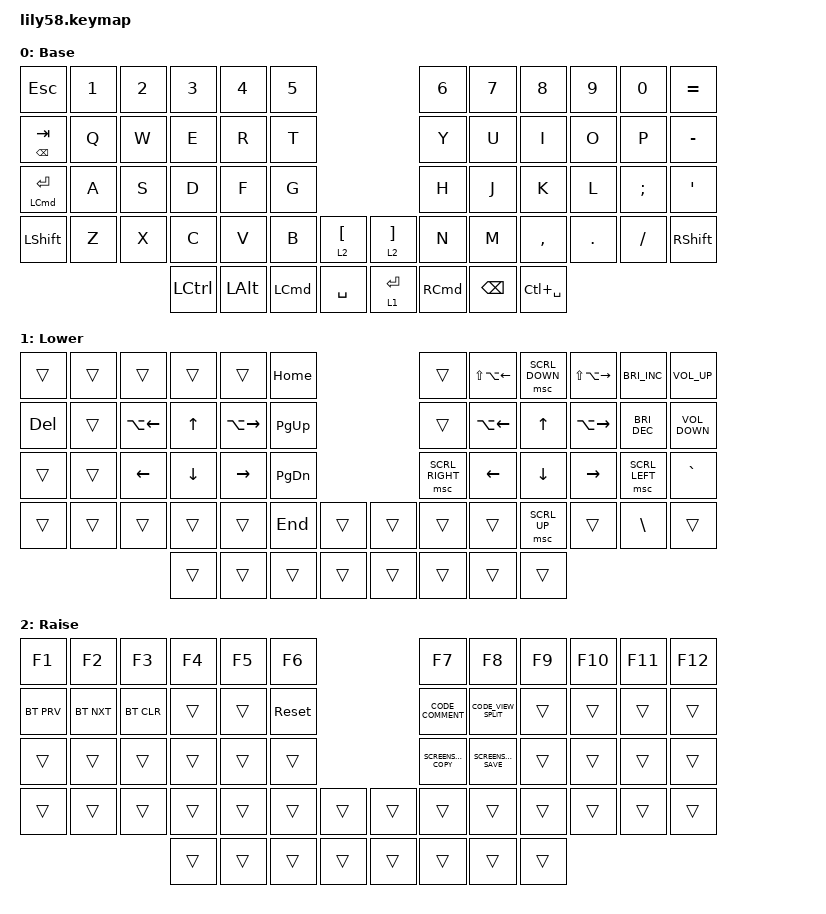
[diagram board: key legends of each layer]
/*
 * Copyright (c) 2020 The ZMK Contributors
 *
 * SPDX-License-Identifier: MIT
 */

#include <behaviors.dtsi>
#include <dt-bindings/zmk/bt.h>
#include <dt-bindings/zmk/keys.h>
#include <dt-bindings/zmk/pointing.h>

/ {
    macros {
        CODE_COMMENT: CODE_COMMENT {
            compatible = "zmk,behavior-macro";
            #binding-cells = <0>;
            bindings = <&kp LG(SLASH)>;
            label = "CODE_COMMENT";
        };

        COLLAPSE_LEVEL: COLLAPSE_LEVEL {
            compatible = "zmk,behavior-macro";
            #binding-cells = <0>;
            bindings =
                <&macro_press>,
                <&kp LEFT_WIN>,
                <&macro_tap>,
                <&kp K>,
                <&macro_release>,
                <&kp LEFT_WIN>;

            label = "COLLAPSE_LEVEL";
        };

        SCREENSHOT_COPY: SCREENSHOT_COPY {
            compatible = "zmk,behavior-macro";
            #binding-cells = <0>;
            bindings = <&kp LG(LC(LS(NUMBER_4)))>;
            label = "SCREENSHOT_COPY";
        };

        SCREENSHOT_SAVE: SCREENSHOT_SAVE {
            compatible = "zmk,behavior-macro";
            #binding-cells = <0>;
            bindings = <&kp LG(LS(NUMBER_4))>;
            label = "SCREENSHOT_SAVE";
        };

        CODE_VIEW_SPLIT: CODE_VIEW_SPLIT {
            compatible = "zmk,behavior-macro";
            #binding-cells = <0>;
            bindings = <&kp LG(BACKSLASH)>;
            label = "CODE_VIEW_SPLIT";
        };
    };

    combos { compatible = "zmk,combos"; };

    keymap {
        compatible = "zmk,keymap";

        default_layer {
            // ------------------------------------------------------------------------------------------------------------
            // |  ESC  |  1  |  2  |  3   |  4   |  5   |                   |  6   |  7    |  8    |  9   |   0   |   `   |
            // |  TAB  |  Q  |  W  |  E   |  R   |  T   |                   |  Y   |  U    |  I    |  O   |   P   |   -   |
            // |  CTRL |  A  |  S  |  D   |  F   |  G   |                   |  H   |  J    |  K    |  L   |   ;   |   '   |
            // | SHIFT |  Z  |  X  |  C   |  V   |  B   |   "["  |  |  "]"  |  N   |  M    |  ,    |  .   |   /   | SHIFT |
            //                     | ALT  | GUI  | LOWER|  SPACE |  | ENTER | RAISE| BSPC  | GUI   |

            display-name = "Base";
            bindings = <
&kp ESC                 &kp NUMBER_1  &kp NUMBER_2  &kp NUMBER_3      &kp NUMBER_4  &kp N5                                                       &kp NUMBER_6       &kp N7         &kp N8         &kp N9   &kp N0    &kp EQUAL
&mt BACKSPACE TAB       &kp Q         &kp W         &kp E             &kp R         &kp T                                                        &kp Y              &kp U          &kp I          &kp O    &kp P     &kp MINUS
&mt LEFT_COMMAND ENTER  &kp A         &kp S         &kp D             &kp F         &kp G                                                        &kp H              &kp J          &kp K          &kp L    &kp SEMI  &kp SQT
&kp LSHFT               &kp Z         &kp X         &kp C             &kp V         &kp B             &lt 2 LEFT_BRACKET    &lt 2 RIGHT_BRACKET  &kp N              &kp M          &kp COMMA      &kp DOT  &kp FSLH  &kp RSHFT
                                                    &kp LEFT_CONTROL  &kp LEFT_ALT  &kp LEFT_COMMAND  &kp SPACE             &lt 1 ENTER          &kp RIGHT_COMMAND  &kp BACKSPACE  &kp LC(SPACE)
            >;
        };

        lower_layer {
            // ------------------------------------------------------------------------------------------------------------
            // | BTCLR | BT1 | BT2 |  BT3 |  BT4 |  BT5 |                   |      |       |       |      |       |       |
            // |  F1   |  F2 |  F3 |  F4  |  F5  |  F6  |                   |  F7  |  F8   |  F9   |  F10 |  F11  |  F12  |
            // |   `   |  !  |  @  |  #   |  $   |  %   |                   |  ^   |  &    |  *    |  (   |   )   |   ~   |
            // |       |     |     |      |      |      |        |  |       |      |  _    |  +    |  {   |   }   |  "|"  |
            //                     |      |      |      |        |  |       |      |       |       |

            display-name = "Lower";
            bindings = <
&trans      &trans  &trans          &trans          &trans           &kp HOME                         &trans           &kp LS(LA(LEFT))  &msc SCRL_DOWN  &kp LS(LA(RIGHT))  &kp C_BRIGHTNESS_INC  &kp C_VOLUME_UP
&kp DELETE  &trans  &kp LA(LEFT)    &kp UP_ARROW    &kp LA(RIGHT)    &kp PAGE_UP                      &trans           &kp LA(LEFT)      &kp UP_ARROW    &kp LA(RIGHT)      &kp C_BRIGHTNESS_DEC  &kp C_VOLUME_DOWN
&trans      &trans  &kp LEFT_ARROW  &kp DOWN_ARROW  &kp RIGHT_ARROW  &kp PAGE_DOWN                    &msc SCRL_RIGHT  &kp LEFT_ARROW    &kp DOWN_ARROW  &kp RIGHT_ARROW    &msc SCRL_LEFT        &kp GRAVE
&trans      &trans  &trans          &trans          &trans           &kp END        &trans    &trans  &trans           &trans            &msc SCRL_UP    &trans             &kp BACKSLASH         &trans
                                    &trans          &trans           &trans         &trans    &trans  &trans           &trans            &trans
            >;
        };

        raise_layer {
            // ------------------------------------------------------------------------------------------------------------
            // |       |     |     |      |      |      |                   |      |       |       |      |       |       |
            // |   `   |  1  |  2  |  3   |  4   |  5   |                   |  6   |   7   |   8   |  9   |   0   |       |
            // |   F1  |  F2 |  F3 |  F4  |  F5  |  F6  |                   |      |   <-  |   v   |  ^   |  ->   |       |
            // |   F7  |  F8 |  F9 |  F10 |  F11 |  F12 |        |  |       |  +   |   -   |   =   |  [   |   ]   |   \   |
            //                     |      |      |      |        |  |       |      |       |       |

            display-name = "Raise";
            bindings = <
&kp F1      &kp F2      &kp F3      &kp F4  &kp F5  &kp F6                        &kp F7            &kp F8            &kp F9  &kp F10  &kp F11  &kp F12
&bt BT_PRV  &bt BT_NXT  &bt BT_CLR  &trans  &trans  &sys_reset                    &CODE_COMMENT     &CODE_VIEW_SPLIT  &trans  &trans   &trans   &trans
&trans      &trans      &trans      &trans  &trans  &trans                        &SCREENSHOT_COPY  &SCREENSHOT_SAVE  &trans  &trans   &trans   &trans
&trans      &trans      &trans      &trans  &trans  &trans      &trans    &trans  &trans            &trans            &trans  &trans   &trans   &trans
                                    &trans  &trans  &trans      &trans    &trans  &trans            &trans            &trans
            >;
        };
    };
};
